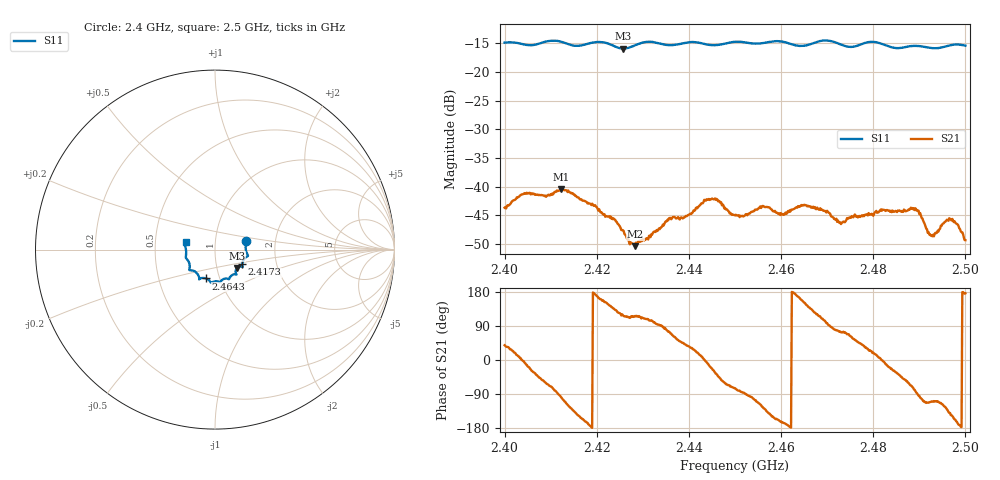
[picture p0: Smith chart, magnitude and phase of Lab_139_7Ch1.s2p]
# Hz S RI R 50
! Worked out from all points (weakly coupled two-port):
!   601 points, 2.4 GHz to 2.5 GHz, reference 50 ohm
!   highest |S21| = -40.38 dB at 2.4123 GHz (marker M1); lowest = -50.4 dB at 2.4283 GHz (marker M2)
!   lowest |S11| = -15.9 dB at 2.4257 GHz (marker M3), VSWR 1.38, Z = 62.5 - j13.1 ohm
!   |S11| at or under -10 dB: start of sweep to end of sweep
!   S12 and S22 are empty: the file has one direction only
!   S11 on the Smith chart (normalised r, x): 2.4 GHz: 1.41, +0.14; 2.4173 GHz: 1.34, -0.23; 2.4643 GHz: 0.86, -0.28; 2.5 GHz: 0.72, +0.06
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2.4e9  0.1732 0.0487  0.00511 0.00412  0 0  0 0
2.403833e9  0.1728 0.0272  0.00858 -9.32e-05  0 0  0 0
2.412333e9  0.1791 -0.0386  -0.00164 -0.00943  0 0  0 0
2.416667e9  0.1528 -0.0748  -0.00694 -0.00348  0 0  0 0
2.417333e9  0.1519 -0.0823  -0.00709 -0.00253  0 0  0 0
2.423833e9  0.1383 -0.0944  -0.00361 0.00374  0 0  0 0
2.425667e9  0.1229 -0.102  -0.00199 0.00366  0 0  0 0
2.428333e9  0.1151 -0.1264  -0.00134 0.00272  0 0  0 0
2.433333e9  0.1129 -0.1375  -0.000265 0.00421  0 0  0 0
2.443833e9  0.0643 -0.1611  0.00773 -0.000778  0 0  0 0
2.446167e9  0.0461 -0.1654  0.00594 -0.00493  0 0  0 0
2.45e9  0.0289 -0.1809  0.00152 -0.00542  0 0  0 0
2.456333e9  -0.00907 -0.1789  -0.00411 -0.00527  0 0  0 0
2.460333e9  -0.0251 -0.1817  -0.00551 -0.00151  0 0  0 0
2.464333e9  -0.0503 -0.1607  -0.00645 0.00244  0 0  0 0
2.466667e9  -0.0761 -0.1588  -0.00458 0.00487  0 0  0 0
2.473e9  -0.091 -0.1472  0.00137 0.00452  0 0  0 0
2.483333e9  -0.1409 -0.0898  0.00586 -0.00194  0 0  0 0
2.489333e9  -0.1628 -0.0436  0.000455 -0.00621  0 0  0 0
2.492667e9  -0.1605 -0.018  -0.00125 -0.00355  0 0  0 0
2.497e9  -0.1695 0.0268  -0.0042 -0.00285  0 0  0 0
2.5e9  -0.1638 0.0425  -0.00341 0.00024  0 0  0 0
